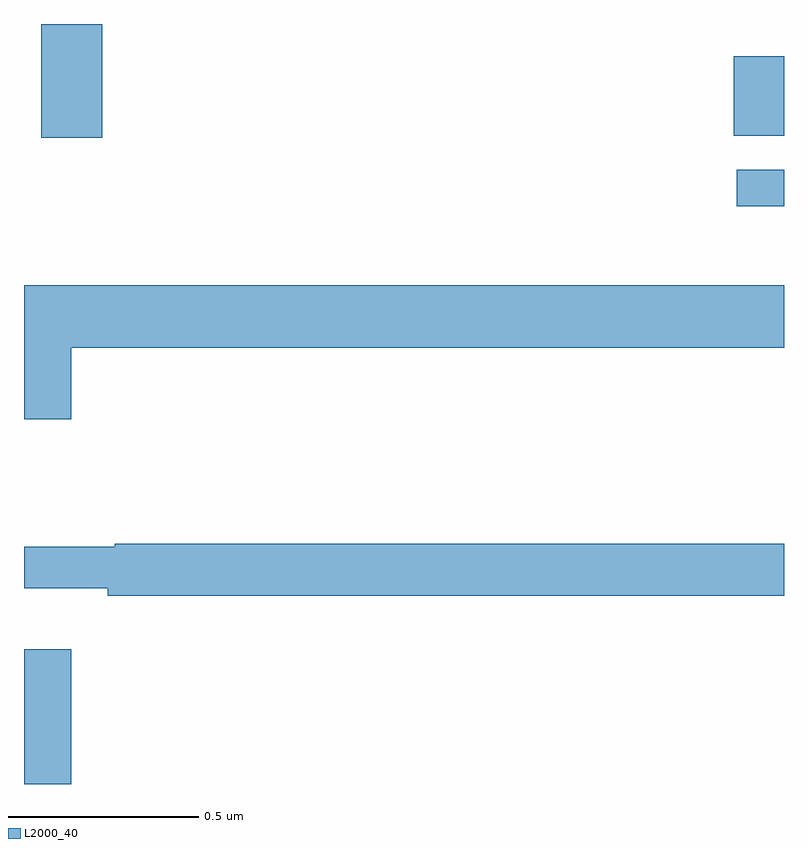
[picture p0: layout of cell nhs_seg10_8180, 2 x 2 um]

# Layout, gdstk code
import gdstk
lib = gdstk.Library(unit=1e-6, precision=1e-09)
def R(c, l, rs):  # rectangles x0, y0, x1, y1
    for r in rs: c.add(gdstk.rectangle(r[:2], r[2:], *l))
def P(c, l, *ps):  # polygons
    for p in ps: c.add(gdstk.Polygon(p, *l))
L2000_40 = (2000, 40)

nhs_seg10_8180 = lib.new_cell('nhs_seg10_8180')
R(nhs_seg10_8180, L2000_40, [(213,1300.5,213.124,1300.855), (214.875,1302.021,215,1302.117), (213.046,1302.201,213.206,1302.5), (214.868,1302.206,215,1302.415)])
P(nhs_seg10_8180, L2000_40, [(213.124,1301.648),(215,1301.648),(215,1301.812),(213,1301.812),(213,1301.46),(213.124,1301.46)],
  [(215,1301.132),(213.239,1301.132),(213.239,1301.125),(213,1301.125),(213,1301.015),(213.22,1301.015),(213.22,1300.996),(215,1300.996)])

lib.write_gds('nhs_seg10_8180.gds')
